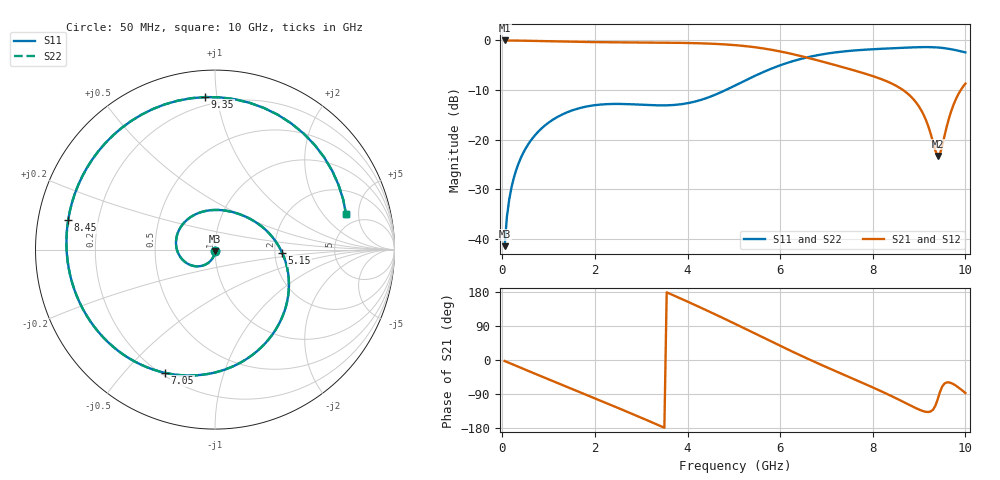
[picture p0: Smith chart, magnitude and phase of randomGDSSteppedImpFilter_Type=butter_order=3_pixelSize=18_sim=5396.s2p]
! freq	dB(S11)	phase(S11)	dB(S12)	phase(S12)
!  dB(S21)	phase(S21)	dB(S22)	phase(S22)
!S-par simulation data
#  GHz  S  DB  R 50
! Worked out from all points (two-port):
!   200 points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, 50 MHz to 10 GHz, reference 50 ohm
!   highest |S21| = -0.01 dB at 50 MHz (marker M1); lowest = -23.3 dB at 9.4 GHz (marker M2)
!   |S21| within 3 dB of the highest: start of sweep to 6.381 GHz
!   lowest |S11| = -41.5 dB at 50 MHz (marker M3), VSWR 1.02, Z = 50 - j0.838 ohm
!   |S11| at or under -10 dB: start of sweep to 4.827 GHz
!   |S22| runs from -41.5 to -1.3 dB; largest |S21 - S12| = 0
!   S11 on the Smith chart (normalised r, x): 50 MHz: 1.00, -0.02; 5.15 GHz: 2.19, -0.09; 7.05 GHz: 0.21, -0.65; 8.45 GHz: 0.09, +0.10; 9.35 GHz: 0.15, +0.93; 10 GHz: 3.77, +3.54
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0.05  -41.52 -91.4  -0.01 -2.6  -0.01 -2.6  -41.52 -91.4
0.1  -35.57 -94.5  -0.01 -5.2  -0.01 -5.2  -35.57 -94.5
0.2  -29.61 -100.2  -0.02 -10.3  -0.02 -10.3  -29.61 -100.2
0.5  -21.88 -116.1  -0.06 -25.7  -0.06 -25.7  -21.88 -116.1
1.15  -15.67 -149.3  -0.19 -58.6  -0.19 -58.6  -15.67 -149.4
1.75  -13.48 -179.6  -0.30 -88.7  -0.30 -88.7  -13.48 -179.6
2.5  -12.82 142.3  -0.39 -126.6  -0.39 -126.6  -12.82 142.3
3.4  -13.12 95.6  -0.44 -173.4  -0.44 -173.4  -13.12 95.6
4.15  -12.37 54.7  -0.55 145.8  -0.55 145.8  -12.37 54.7
5.05  -8.99 3.2  -0.97 94.1  -0.97 94.1  -8.99 3.2
5.15  -8.53 -2.7  -1.06 88.2  -1.06 88.2  -8.53 -2.7
5.95  -5.20 -50.2  -2.13 40.5  -2.13 40.5  -5.20 -50.2
6.7  -3.18 -93.0  -3.75 -2.5  -3.75 -2.5  -3.18 -93.0
7.05  -2.60 -112.1  -4.62 -21.6  -4.62 -21.6  -2.60 -112.2
7.65  -1.99 -144.6  -6.19 -53.5  -6.19 -53.5  -1.99 -144.6
8.35  -1.62 175.0  -8.44 -92.0  -8.44 -92.0  -1.62 174.9
8.45  -1.57 168.6  -8.89 -97.9  -8.89 -97.9  -1.57 168.5
9  -1.37 127.5  -13.38 -130.8  -13.38 -130.8  -1.37 127.4
9.35  -1.39 93.6  -22.21 -121.3  -22.21 -121.3  -1.39 93.5
9.4  -1.42 88.2  -23.34 -104.5  -23.34 -104.5  -1.42 88.1
9.65  -1.71 58.9  -15.57 -59.2  -15.57 -59.2  -1.71 58.8
10  -2.42 15.4  -8.72 -87.1  -8.72 -87.1  -2.42 15.3
